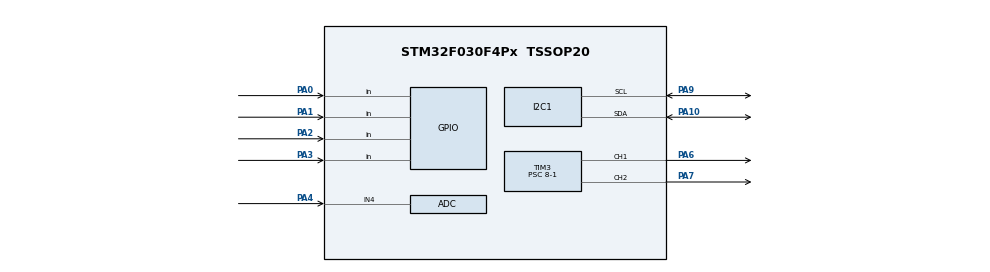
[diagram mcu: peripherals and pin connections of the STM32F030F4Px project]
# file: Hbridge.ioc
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ADC.ContinuousConvMode=ENABLE
ADC.DMAContinuousRequests=ENABLE
ADC.SamplingTime=ADC_SAMPLETIME_239CYCLES_5
Dma.ADC.0.Direction=DMA_PERIPH_TO_MEMORY
Dma.ADC.0.Instance=DMA1_Channel1
Dma.ADC.0.MemDataAlignment=DMA_MDATAALIGN_WORD
Dma.ADC.0.MemInc=DMA_MINC_ENABLE
Dma.ADC.0.Mode=DMA_CIRCULAR
Dma.ADC.0.PeriphDataAlignment=DMA_PDATAALIGN_WORD
Dma.ADC.0.PeriphInc=DMA_PINC_DISABLE
Dma.ADC.0.Priority=DMA_PRIORITY_HIGH
Dma.Request0=ADC
I2C1.OwnAddress=0x20<<1
Mcu.Family=STM32F0
Mcu.Name=STM32F030F4Px
Mcu.Package=TSSOP20
NVIC.ADC1_IRQn=true\:1\:0\:true\:false\:true\:true\:true\:true
NVIC.DMA1_Channel1_IRQn=true\:1\:0\:true\:false\:true\:false\:true\:true
NVIC.I2C1_IRQn=true\:0\:0\:false\:false\:true\:true\:true\:true
PA0.GPIO_PuPd=GPIO_PULLUP
PA0.Signal=GPIO_Input
PA1.GPIO_PuPd=GPIO_PULLUP
PA1.Signal=GPIO_Input
PA10.Mode=I2C
PA10.Signal=I2C1_SDA
PA13.Mode=Serial_Wire
PA13.Signal=SYS_SWDIO
PA14.Mode=Serial_Wire
PA14.Signal=SYS_SWCLK
PA2.GPIO_PuPd=GPIO_PULLUP
PA2.Signal=GPIO_Input
PA3.GPIO_PuPd=GPIO_PULLUP
PA3.Signal=GPIO_Input
PA4.Mode=IN4
PA4.Signal=ADC_IN4
PA6.Signal=S_TIM3_CH1
PA7.Signal=S_TIM3_CH2
PA9.Mode=I2C
PA9.Signal=I2C1_SCL
ProjectManager.HeapSize=0x200
ProjectManager.StackSize=0x400
ProjectManager.TargetToolchain=MDK-ARM V5
SH.S_TIM3_CH1.0=TIM3_CH1,PWM Generation1 CH1
SH.S_TIM3_CH2.0=TIM3_CH2,PWM Generation2 CH2
TIM3.AutoReloadPreload=TIM_AUTORELOAD_PRELOAD_ENABLE
TIM3.Channel-PWM\ Generation1\ CH1=TIM_CHANNEL_1
TIM3.Channel-PWM\ Generation2\ CH2=TIM_CHANNEL_2
TIM3.Period=1000
TIM3.Prescaler=8-1
board=custom

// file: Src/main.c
/* USER CODE BEGIN Header */
/**
  ******************************************************************************
  * @file           : main.c
  * @brief          : Main program body
  ******************************************************************************
  * @attention
  *
  * Copyright (c) 2022 STMicroelectronics.
  * All rights reserved.
  *
  * This software is licensed under terms that can be found in the LICENSE file
  * in the root directory of this software component.
  * If no LICENSE file comes with this software, it is provided AS-IS.
  *
  ******************************************************************************
  */
/* USER CODE END Header */
#include "main.h"

/* USER CODE BEGIN Includes */
#include "i2c_ex.h"
#include "arm_math.h"
/* USER CODE END Includes */

/* USER CODE BEGIN PD */
#define ADC_CHANNEL_NUMS                1
#define ADC_SAMPLES_NUMS                ADC_CHANNEL_NUMS * 20

#define I2C1_ADDR_BASE 0x20
#define FIRMWARE_VERSION 1

enum {DIR_STOP = 0, DIR_FORWARD, DIR_REWERSE};
enum {SPEED_TYPE_8BIT = 0, SPEED_TYPE_16BIT};
/* USER CODE END PD */

ADC_HandleTypeDef hadc;
DMA_HandleTypeDef hdma_adc;

I2C_HandleTypeDef hi2c1;

TIM_HandleTypeDef htim3;

/* USER CODE BEGIN PV */
volatile uint8_t direction = DIR_STOP;
volatile uint8_t speed_type_flag = SPEED_TYPE_8BIT;
volatile uint8_t speed_8bits = 0;
volatile uint16_t speed_16bits = 0;
volatile uint16_t pwm_freq = 1000;

volatile uint8_t g_i2c_addr = 0;
volatile uint8_t g_i2c_addr_last = 0;
volatile uint8_t g_i2c_addr_filter = 0;

__IO uint32_t uiAdcValueBuf[ADC_SAMPLES_NUMS];
__IO uint16_t usAdcValue16[ADC_CHANNEL_NUMS];
__IO uint8_t usAdcValue8[ADC_CHANNEL_NUMS];

volatile uint8_t fm_version = FIRMWARE_VERSION;
/* USER CODE END PV */

void SystemClock_Config(void);
static void MX_GPIO_Init(void);
static void MX_DMA_Init(void);
static void MX_I2C1_Init(void);
static void MX_ADC_Init(void);
static void MX_TIM3_Init(void);

/* USER CODE BEGIN 0 */
long map(long x, long in_min, long in_max, long out_min, long out_max) {
  long result;

  result = (x - in_min) * (out_max - out_min) / (in_max - in_min) + out_min;
  if (result < out_min)
    result = out_min;
  else if (result > out_max)
    result = out_max;

  return result;
}

void set_pwm(uint8_t direction)
{
  uint32_t period;

  period = 1000000 / pwm_freq;
  if (!pwm_freq)
    __HAL_TIM_SET_AUTORELOAD(&htim3, 1000000 / 100);
  else
    __HAL_TIM_SET_AUTORELOAD(&htim3, period);
  switch (direction)
  {
  case DIR_STOP:
    __HAL_TIM_SET_COMPARE(&htim3, TIM_CHANNEL_1, 0);
    __HAL_TIM_SET_COMPARE(&htim3, TIM_CHANNEL_2, 0);
    break;
  case DIR_FORWARD:
    if (speed_type_flag == SPEED_TYPE_8BIT) {
      __HAL_TIM_SET_COMPARE(&htim3, TIM_CHANNEL_1, (uint32_t)((float)speed_8bits/255.0f*period));
    } else {
      __HAL_TIM_SET_COMPARE(&htim3, TIM_CHANNEL_1, (uint32_t)((float)speed_16bits/65535.0f*period));
    }
    __HAL_TIM_SET_COMPARE(&htim3, TIM_CHANNEL_2, 0);
    break;
  case DIR_REWERSE:
    __HAL_TIM_SET_COMPARE(&htim3, TIM_CHANNEL_1, 0);
    if (speed_type_flag == SPEED_TYPE_8BIT) {
      __HAL_TIM_SET_COMPARE(&htim3, TIM_CHANNEL_2, (uint32_t)((float)speed_8bits/255.0f*period));
    } else {
      __HAL_TIM_SET_COMPARE(&htim3, TIM_CHANNEL_2, (uint32_t)((float)speed_16bits/65535.0f*period));
    }
    break;

  default:
    break;
  }
}

void HAL_ADC_ConvCpltCallback(ADC_HandleTypeDef* hadc) {
  uint64_t adcTotal[ADC_CHANNEL_NUMS]={0};

	HAL_ADC_Stop_DMA(hadc);
	for (uint8_t i = 0; i < ADC_SAMPLES_NUMS; i++) {
    adcTotal[0] += uiAdcValueBuf[i];
  }
	for (uint8_t i = 0; i < ADC_CHANNEL_NUMS; i++) {
    usAdcValue16[i] = (adcTotal[0] / 20);
  }

	usAdcValue8[0] = map(usAdcValue16[0],0,4095,0,255);

	HAL_ADC_Start_DMA(hadc, (uint32_t *)uiAdcValueBuf, ADC_SAMPLES_NUMS);
}

void user_i2c1_init(void)
{

  /* USER CODE BEGIN I2C1_Init 0 */

  /* USER CODE END I2C1_Init 0 */

  /* USER CODE BEGIN I2C1_Init 1 */

  /* USER CODE END I2C1_Init 1 */
  hi2c1.Instance = I2C1;
  hi2c1.Init.Timing = 0x2000090E;
  hi2c1.Init.OwnAddress1 = (I2C1_ADDR_BASE+g_i2c_addr)<<1;
  hi2c1.Init.AddressingMode = I2C_ADDRESSINGMODE_7BIT;
  hi2c1.Init.DualAddressMode = I2C_DUALADDRESS_DISABLE;
  hi2c1.Init.OwnAddress2 = 0;
  hi2c1.Init.OwnAddress2Masks = I2C_OA2_NOMASK;
  hi2c1.Init.GeneralCallMode = I2C_GENERALCALL_DISABLE;
  hi2c1.Init.NoStretchMode = I2C_NOSTRETCH_DISABLE;
  if (HAL_I2C_Init(&hi2c1) != HAL_OK)
  {
    Error_Handler();
  }
  /** Configure Analogue filter
  */
  if (HAL_I2CEx_ConfigAnalogFilter(&hi2c1, I2C_ANALOGFILTER_ENABLE) != HAL_OK)
  {
    Error_Handler();
  }
  /** Configure Digital filter
  */
  if (HAL_I2CEx_ConfigDigitalFilter(&hi2c1, 0) != HAL_OK)
  {
    Error_Handler();
  }
  /* USER CODE BEGIN I2C1_Init 2 */

  /* USER CODE END I2C1_Init 2 */

}

uint8_t read_i2c1_addr(void)
{
  uint8_t i2c1_addr = 0;

  for (int i = 0; i < 4; i++) {
    i2c1_addr |= (!(HAL_GPIO_ReadPin(GPIOA, 1 << i))) << i;
  }

  return i2c1_addr;
}

void i2c1_addr_init(void)
{
  uint8_t i2c1_addr = 0;

  for (int i = 0; i < 10; i++) {
    i2c1_addr = read_i2c1_addr();
    if (i2c1_addr != g_i2c_addr_last) {
      g_i2c_addr_last = i2c1_addr;
      g_i2c_addr_filter = 0;

    } else {
      g_i2c_addr_filter++;
      if (g_i2c_addr_filter >= 3) {
        g_i2c_addr_filter = 0;
        g_i2c_addr = i2c1_addr;
        user_i2c1_init();
        return;
      }
    }
    HAL_Delay(100);
  }
  MX_I2C1_Init();
}

void i2c1_receive_callback(uint8_t *rx_data, uint16_t len)
{
  uint8_t rx_buf[16];
  uint8_t tx_buf[16];
  uint8_t rx_mark[16] = {0};

  if (len > 1 && (rx_data[0] <= 0x05))
  {
    if (len <= 7) {
      for (int i = 0; i < len - 1; i++) {
        rx_buf[rx_data[0]+i] = rx_data[1+i];
        rx_mark[rx_data[0]+i] = 1;
      }
      if (rx_mark[0]) {
        direction = rx_buf[0];
      }
      if (rx_mark[1]) {
        speed_type_flag = SPEED_TYPE_8BIT;
        speed_8bits = rx_buf[1];
      }
      if (rx_mark[2] && rx_mark[3]) {
        speed_type_flag = SPEED_TYPE_16BIT;
        speed_16bits = (rx_buf[2] | (rx_buf[3] << 8));
      }
      if (rx_mark[4] && rx_mark[5]) {
        pwm_freq = (rx_buf[4] | (rx_buf[5] << 8));
        if (pwm_freq < 100)
          pwm_freq = 100;
      }
			set_pwm(direction);

    }
  }
  else if (len == 1 && (rx_data[0] <= 0x05))
  {
    if (rx_data[0] == 0x00) {
      i2c1_set_send_data((uint8_t *)&direction, 1);
    } else if (rx_data[0] == 0x01) {
      i2c1_set_send_data((uint8_t *)&speed_8bits, 1);
    } else if ((rx_data[0] == 0x02) || (rx_data[0] == 0x03)) {
      i2c1_set_send_data((uint8_t *)&speed_16bits, 2);
    } else if ((rx_data[0] == 0x04) || (rx_data[0] == 0x05)) {
      i2c1_set_send_data((uint8_t *)&pwm_freq, 2);
    }
  }
  else if (len == 1 && (rx_data[0] == 0x10))
  {
    i2c1_set_send_data(usAdcValue8, 1);
  }
  else if (len == 1 && ((rx_data[0] == 0x20) || (rx_data[0] == 0x21)))
  {
    i2c1_set_send_data((uint8_t *)&usAdcValue16[0], 2);
  }
  else if (len == 1 && (rx_data[0] == 0xFE))
  {
    i2c1_set_send_data((uint8_t *)&fm_version, 1);
  }
  else if (len == 1 && (rx_data[0] == 0xFF))
  {
    tx_buf[0] = I2C1_ADDR_BASE + g_i2c_addr;
    i2c1_set_send_data((uint8_t *)&tx_buf[0], 1);
  }
}
/* USER CODE END 0 */

int main(void)
{

  /* MCU Configuration--------------------------------------------------------*/

  /* Reset of all peripherals, Initializes the Flash interface and the Systick. */
  HAL_Init();

  /* Configure the system clock */
  SystemClock_Config();

  /* Initialize all configured peripherals */
  MX_GPIO_Init();
  MX_DMA_Init();
  // MX_I2C1_Init();
  MX_ADC_Init();
  MX_TIM3_Init();
  /* USER CODE BEGIN 2 */
  i2c1_addr_init();
  HAL_ADCEx_Calibration_Start(&hadc);
  HAL_ADC_Start_DMA(&hadc, (uint32_t *)uiAdcValueBuf, ADC_SAMPLES_NUMS);
  HAL_TIM_PWM_Start(&htim3, TIM_CHANNEL_1);
  HAL_TIM_PWM_Start(&htim3, TIM_CHANNEL_2);
  HAL_I2C_EnableListen_IT(&hi2c1);
  /* USER CODE END 2 */

  /* Infinite loop */
  while (1)
  {

  }
}

void SystemClock_Config(void)
{
  RCC_OscInitTypeDef RCC_OscInitStruct = {0};
  RCC_ClkInitTypeDef RCC_ClkInitStruct = {0};
  RCC_PeriphCLKInitTypeDef PeriphClkInit = {0};

  /** Initializes the RCC Oscillators according to the specified parameters
  * in the RCC_OscInitTypeDef structure.
  */
  RCC_OscInitStruct.OscillatorType = RCC_OSCILLATORTYPE_HSI|RCC_OSCILLATORTYPE_HSI14;
  RCC_OscInitStruct.HSIState = RCC_HSI_ON;
  RCC_OscInitStruct.HSI14State = RCC_HSI14_ON;
  RCC_OscInitStruct.HSICalibrationValue = RCC_HSICALIBRATION_DEFAULT;
  RCC_OscInitStruct.HSI14CalibrationValue = 16;
  RCC_OscInitStruct.PLL.PLLState = RCC_PLL_NONE;
  if (HAL_RCC_OscConfig(&RCC_OscInitStruct) != HAL_OK)
  {
    Error_Handler();
  }

  /** Initializes the CPU, AHB and APB buses clocks
  */
  RCC_ClkInitStruct.ClockType = RCC_CLOCKTYPE_HCLK|RCC_CLOCKTYPE_SYSCLK
                              |RCC_CLOCKTYPE_PCLK1;
  RCC_ClkInitStruct.SYSCLKSource = RCC_SYSCLKSOURCE_HSI;
  RCC_ClkInitStruct.AHBCLKDivider = RCC_SYSCLK_DIV1;
  RCC_ClkInitStruct.APB1CLKDivider = RCC_HCLK_DIV1;

  if (HAL_RCC_ClockConfig(&RCC_ClkInitStruct, FLASH_LATENCY_0) != HAL_OK)
  {
    Error_Handler();
  }
  PeriphClkInit.PeriphClockSelection = RCC_PERIPHCLK_I2C1;
  PeriphClkInit.I2c1ClockSelection = RCC_I2C1CLKSOURCE_HSI;
  if (HAL_RCCEx_PeriphCLKConfig(&PeriphClkInit) != HAL_OK)
  {
    Error_Handler();
  }
}

static void MX_ADC_Init(void)
{

  ADC_ChannelConfTypeDef sConfig = {0};

  /** Configure the global features of the ADC (Clock, Resolution, Data Alignment and number of conversion)
  */
  hadc.Instance = ADC1;
  hadc.Init.ClockPrescaler = ADC_CLOCK_ASYNC_DIV1;
  hadc.Init.Resolution = ADC_RESOLUTION_12B;
  hadc.Init.DataAlign = ADC_DATAALIGN_RIGHT;
  hadc.Init.ScanConvMode = ADC_SCAN_DIRECTION_FORWARD;
  hadc.Init.EOCSelection = ADC_EOC_SINGLE_CONV;
  hadc.Init.LowPowerAutoWait = DISABLE;
  hadc.Init.LowPowerAutoPowerOff = DISABLE;
  hadc.Init.ContinuousConvMode = ENABLE;
  hadc.Init.DiscontinuousConvMode = DISABLE;
  hadc.Init.ExternalTrigConv = ADC_SOFTWARE_START;
  hadc.Init.ExternalTrigConvEdge = ADC_EXTERNALTRIGCONVEDGE_NONE;
  hadc.Init.DMAContinuousRequests = ENABLE;
  hadc.Init.Overrun = ADC_OVR_DATA_PRESERVED;
  if (HAL_ADC_Init(&hadc) != HAL_OK)
  {
    Error_Handler();
  }

  /** Configure for the selected ADC regular channel to be converted.
  */
  sConfig.Channel = ADC_CHANNEL_4;
  sConfig.Rank = ADC_RANK_CHANNEL_NUMBER;
  sConfig.SamplingTime = ADC_SAMPLETIME_239CYCLES_5;
  if (HAL_ADC_ConfigChannel(&hadc, &sConfig) != HAL_OK)
  {
    Error_Handler();
  }

}

static void MX_I2C1_Init(void)
{

  hi2c1.Instance = I2C1;
  hi2c1.Init.Timing = 0x2000090E;
  hi2c1.Init.OwnAddress1 = 0x20<<1;
  hi2c1.Init.AddressingMode = I2C_ADDRESSINGMODE_7BIT;
  hi2c1.Init.DualAddressMode = I2C_DUALADDRESS_DISABLE;
  hi2c1.Init.OwnAddress2 = 0;
  hi2c1.Init.OwnAddress2Masks = I2C_OA2_NOMASK;
  hi2c1.Init.GeneralCallMode = I2C_GENERALCALL_DISABLE;
  hi2c1.Init.NoStretchMode = I2C_NOSTRETCH_DISABLE;
  if (HAL_I2C_Init(&hi2c1) != HAL_OK)
  {
    Error_Handler();
  }

  /** Configure Analogue filter
  */
  if (HAL_I2CEx_ConfigAnalogFilter(&hi2c1, I2C_ANALOGFILTER_ENABLE) != HAL_OK)
  {
    Error_Handler();
  }

  /** Configure Digital filter
  */
  if (HAL_I2CEx_ConfigDigitalFilter(&hi2c1, 0) != HAL_OK)
  {
    Error_Handler();
  }

}

static void MX_TIM3_Init(void)
{

  TIM_MasterConfigTypeDef sMasterConfig = {0};
  TIM_OC_InitTypeDef sConfigOC = {0};

  htim3.Instance = TIM3;
  htim3.Init.Prescaler = 8-1;
  htim3.Init.CounterMode = TIM_COUNTERMODE_UP;
  htim3.Init.Period = 1000;
  htim3.Init.ClockDivision = TIM_CLOCKDIVISION_DIV1;
  htim3.Init.AutoReloadPreload = TIM_AUTORELOAD_PRELOAD_ENABLE;
  if (HAL_TIM_PWM_Init(&htim3) != HAL_OK)
  {
    Error_Handler();
  }
  sMasterConfig.MasterOutputTrigger = TIM_TRGO_RESET;
  sMasterConfig.MasterSlaveMode = TIM_MASTERSLAVEMODE_DISABLE;
  if (HAL_TIMEx_MasterConfigSynchronization(&htim3, &sMasterConfig) != HAL_OK)
  {
    Error_Handler();
  }
  sConfigOC.OCMode = TIM_OCMODE_PWM1;
  sConfigOC.Pulse = 0;
  sConfigOC.OCPolarity = TIM_OCPOLARITY_HIGH;
  sConfigOC.OCFastMode = TIM_OCFAST_DISABLE;
  if (HAL_TIM_PWM_ConfigChannel(&htim3, &sConfigOC, TIM_CHANNEL_1) != HAL_OK)
  {
    Error_Handler();
  }
  if (HAL_TIM_PWM_ConfigChannel(&htim3, &sConfigOC, TIM_CHANNEL_2) != HAL_OK)
  {
    Error_Handler();
  }
  HAL_TIM_MspPostInit(&htim3);

}

static void MX_DMA_Init(void)
{

  /* DMA controller clock enable */
  __HAL_RCC_DMA1_CLK_ENABLE();

  /* DMA interrupt init */
  /* DMA1_Channel1_IRQn interrupt configuration */
  HAL_NVIC_SetPriority(DMA1_Channel1_IRQn, 1, 0);
  HAL_NVIC_EnableIRQ(DMA1_Channel1_IRQn);

}

static void MX_GPIO_Init(void)
{
  GPIO_InitTypeDef GPIO_InitStruct = {0};

  /* GPIO Ports Clock Enable */
  __HAL_RCC_GPIOA_CLK_ENABLE();

  /*Configure GPIO pins : PA0 PA1 PA2 PA3 */
  GPIO_InitStruct.Pin = GPIO_PIN_0|GPIO_PIN_1|GPIO_PIN_2|GPIO_PIN_3;
  GPIO_InitStruct.Mode = GPIO_MODE_INPUT;
  GPIO_InitStruct.Pull = GPIO_PULLUP;
  HAL_GPIO_Init(GPIOA, &GPIO_InitStruct);

}

void Error_Handler(void)
{
  __disable_irq();
  while (1)
  {
  }
}
